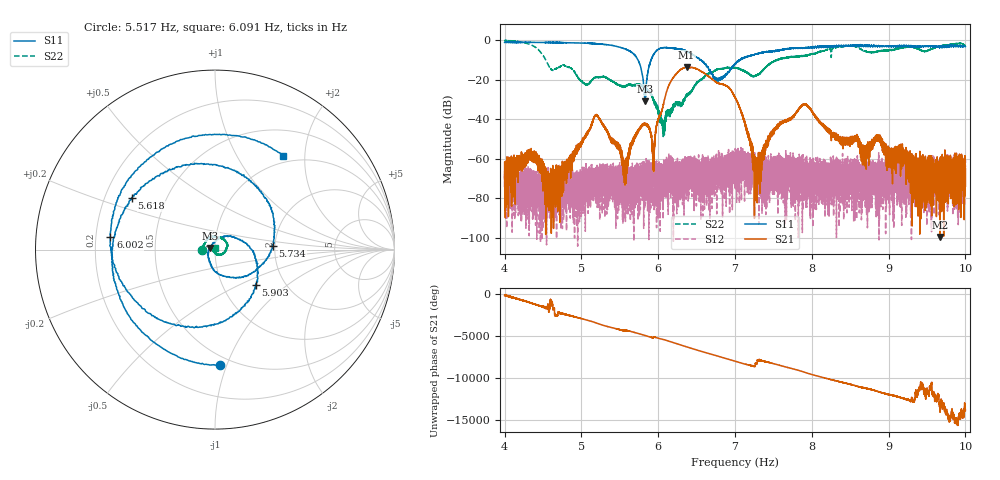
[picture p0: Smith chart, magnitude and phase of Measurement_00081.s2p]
!Created with skrf (http://scikit-rf.org).
# Hz S RI R 50.0
!freq ReS11 ImS11 ReS21 ImS21 ReS12 ImS12 ReS22 ImS22
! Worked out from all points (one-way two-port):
!   14001 points, 4 Hz to 10 Hz, reference 50 ohm
!   highest |S21| = -13.71 dB at 6.369 Hz (marker M1); lowest = -99.7 dB at 9.667 Hz (marker M2)
!   lowest |S11| = -31.0 dB at 5.827 Hz (marker M3), VSWR 1.06, Z = 47.4 + j0.803 ohm
!   |S11| at or under -10 dB: 5.736 Hz to 5.907 Hz (170.9 mHz wide, 2.94 % of centre); 6.55554 Hz to 6.55665 Hz (1.11 mHz wide, 0.0169 % of centre); 6.559 Hz to 7.059 Hz (500 mHz wide, 7.34 % of centre) (the widest 3 of 10)
!   |S22| runs from -48.8 to -0.2 dB; largest |S21 - S12| = 0.21
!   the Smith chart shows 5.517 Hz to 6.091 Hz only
!   S11 on the Smith chart (normalised r, x): 5.517 Hz: 0.43, -0.95; 5.618 Hz: 0.32, +0.26; 5.734 Hz: 1.95, +0.08; 5.903 Hz: 1.43, -0.61; 6.002 Hz: 0.26, +0.06; 6.091 Hz: 0.88, +1.59
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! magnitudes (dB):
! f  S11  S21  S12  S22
! 4 Hz  -1.1  -62.0  -74.3  -0.2
! 4.351 Hz  -1.1  -57.0  -72.1  -2.5
! 4.61 Hz  -1.2  -68.9  -74.7  -14.9
! 5 Hz  -1.5  -51.9  -73.6  -20.7
! 5.199 Hz  -1.8  -38.0  -70.3  -18.8
! 5.517 Hz  -3.8  -59.5  -72.4  -22.9
! 5.618 Hz  -5.3  -57.5  -67.5  -22.5
! 5.734 Hz  -9.8  -45.8  -73.1  -22.6
! 5.827 Hz  -31.0  -42.3  -65.7  -24.6
! 5.903 Hz  -10.5  -47.1  -64.5  -26.9
! 6 Hz  -4.7  -39.9  -64.6  -34.2
! 6.002 Hz  -4.6  -39.6  -67.0  -36.3
! 6.091 Hz  -3.8  -28.5  -73.0  -43.2
! 6.369 Hz  -5.6  -13.7  -67.8  -27.9
! 6.769 Hz  -19.8  -21.7  -63.0  -14.8
! 7 Hz  -12.0  -29.1  -65.8  -13.9
! 7.294 Hz  -6.8  -60.2  -74.5  -17.5
! 7.562 Hz  -5.2  -43.1  -62.2  -9.8
! 8 Hz  -3.8  -36.0  -68.1  -6.9
! 9 Hz  -3.2  -56.7  -80.0  -5.1
! 9.667 Hz  -3.6  -99.7  -72.8  -3.0
! 10 Hz  -3.3  -74.0  -64.2  -3.0
